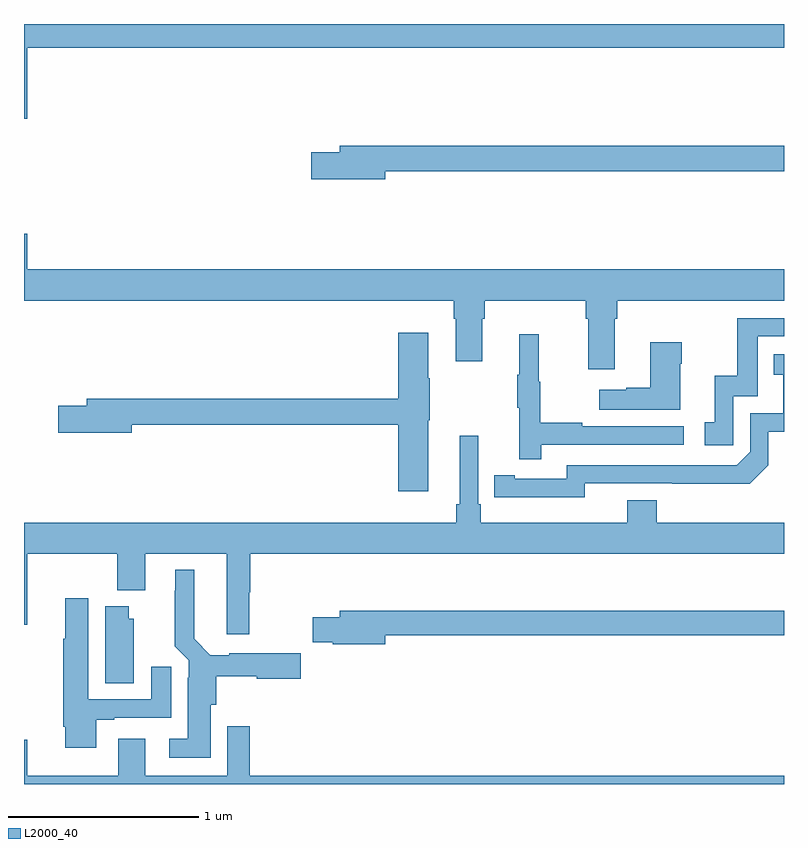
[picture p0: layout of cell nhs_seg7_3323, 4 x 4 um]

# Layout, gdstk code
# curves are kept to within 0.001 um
import gdstk
lib = gdstk.Library(unit=1e-6, precision=1e-09)
def P(c, l, *ps):  # polygons
    for p in ps: c.add(gdstk.Polygon(p, *l))
L2000_40 = (2000, 40)

nhs_seg7_3323 = lib.new_cell('nhs_seg7_3323')
P(nhs_seg7_3323, L2000_40, [(321.016,1073.876),(325,1073.876),(325,1074),(321,1074),(321,1073.502),(321.016,1073.502)],
  [(322.9,1073.224),(325,1073.224),(325,1073.36),(322.661,1073.36),(322.661,1073.324),(322.512,1073.324),(322.512,1073.182),(322.9,1073.182)],
  [(324.109,1072.448),(324.122,1072.448),(324.122,1072.544),(325,1072.544),(325,1072.708),(321.016,1072.708),(321.016,1072.897),(321,1072.897),(321,1072.544),(323.261,1072.544),(323.261,1072.448),(323.273,1072.448),(323.273,1072.224),(323.413,1072.224),(323.413,1072.448),(323.426,1072.448),(323.426,1072.544),(323.957,1072.544),(323.957,1072.448),(323.969,1072.448),(323.969,1072.182),(324.109,1072.182)],
  [(324.732,1072.041),(324.861,1072.041),(324.861,1072.356),(325,1072.356),(325,1072.452),(324.753,1072.452),(324.753,1072.15),(324.635,1072.15),(324.635,1071.903),(324.582,1071.903),(324.582,1071.783),(324.732,1071.783)],
  [(323.128,1071.915),(323.136,1071.915),(323.136,1072.136),(323.128,1072.136),(323.128,1072.375),(322.97,1072.375),(322.97,1072.028),(321.329,1072.028),(321.329,1071.992),(321.18,1071.992),(321.18,1071.85),(321.568,1071.85),(321.568,1071.892),(322.97,1071.892),(322.97,1071.54),(323.128,1071.54)],
  [(323.723,1071.786),(324.472,1071.786),(324.472,1071.882),(323.939,1071.882),(323.939,1071.902),(323.716,1071.902),(323.716,1072.116),(323.708,1072.116),(323.708,1072.366),(323.606,1072.366),(323.606,1072.153),(323.595,1072.153),(323.595,1071.979),(323.606,1071.979),(323.606,1071.708),(323.723,1071.708)],
  [(324.454,1072.211),(324.462,1072.211),(324.462,1072.324),(324.296,1072.324),(324.296,1072.085),(324.17,1072.085),(324.17,1072.075),(324.027,1072.075),(324.027,1071.971),(324.454,1071.971)],
  [(323.952,1071.582),(324.82,1071.581),(324.918,1071.678),(324.918,1071.855),(325,1071.855),(325,1072.261),(324.946,1072.261),(324.946,1072.155),(324.995,1072.155),(324.995,1071.951),(324.822,1071.951),(324.822,1071.75),(324.75,1071.678),(323.856,1071.678),(323.856,1071.606),(323.584,1071.606),(323.584,1071.626),(323.476,1071.626),(323.476,1071.51),(323.952,1071.509)],
  [(321,1070.838),(321.016,1070.838),(321.016,1071.212),(321.49,1071.212),(321.49,1071.02),(321.637,1071.02),(321.637,1071.212),(322.067,1071.212),(322.067,1070.787),(322.185,1070.787),(322.185,1071.008),(322.19,1071.008),(322.19,1071.212),(325,1071.212),(325,1071.376),(324.329,1071.376),(324.329,1071.493),(324.176,1071.493),(324.176,1071.376),(323.405,1071.376),(323.405,1071.472),(323.391,1071.472),(323.391,1071.832),(323.294,1071.832),(323.294,1071.472),(323.275,1071.472),(323.275,1071.376),(321,1071.376)],
  [(321.982,1070.418),(322.013,1070.418),(322.013,1070.567),(322.224,1070.567),(322.224,1070.555),(322.457,1070.555),(322.457,1070.689),(322.08,1070.689),(322.08,1070.677),(321.981,1070.677),(321.895,1070.764),(321.895,1071.127),(321.797,1071.127),(321.797,1071.017),(321.793,1071.017),(321.793,1070.726),(321.867,1070.652),(321.867,1070.558),(321.863,1070.558),(321.863,1070.239),(321.765,1070.239),(321.765,1070.138),(321.982,1070.138)],
  [(321.379,1070.337),(321.475,1070.337),(321.475,1070.349),(321.775,1070.349),(321.775,1070.617),(321.671,1070.617),(321.671,1070.445),(321.337,1070.445),(321.337,1070.977),(321.218,1070.977),(321.218,1070.764),(321.206,1070.764),(321.206,1070.302),(321.218,1070.302),(321.218,1070.19),(321.379,1070.19)],
  [(321.577,1070.871),(321.55,1070.871),(321.55,1070.935),(321.428,1070.935),(321.428,1070.53),(321.577,1070.53)],
  [(322.9,1070.782),(325,1070.782),(325,1070.911),(322.661,1070.911),(322.661,1070.877),(322.519,1070.877),(322.519,1070.747),(322.624,1070.747),(322.624,1070.735),(322.9,1070.735)],
  [(325,1070.044),(322.187,1070.044),(322.187,1070.305),(322.071,1070.305),(322.071,1070.044),(321.637,1070.044),(321.637,1070.239),(321.497,1070.239),(321.497,1070.044),(321.016,1070.044),(321.016,1070.233),(321,1070.233),(321,1070),(325,1070)])

lib.write_gds('nhs_seg7_3323.gds')
